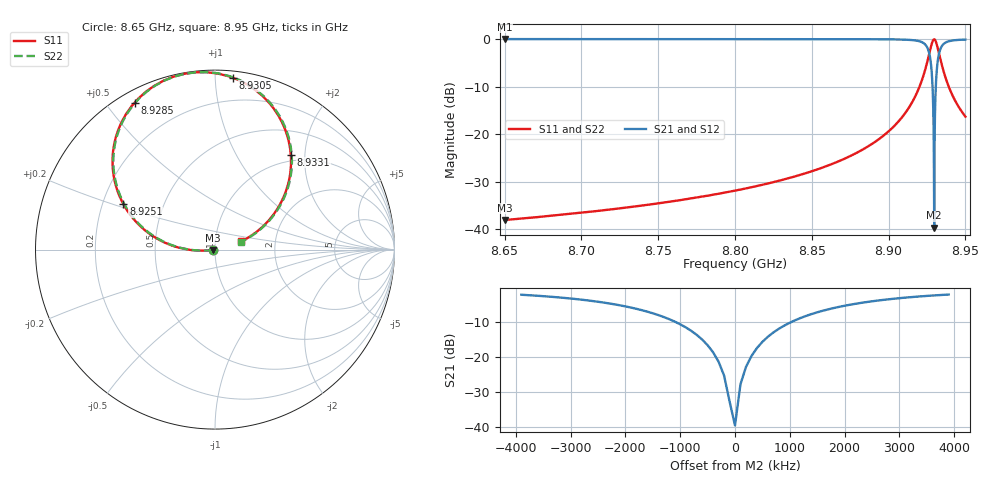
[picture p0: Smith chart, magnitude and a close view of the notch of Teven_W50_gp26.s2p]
! Sonnet Data File
! From: emgraph Version : 16.52
! From Project: transmon_trial
! Data is De-embedded
! Data File Written: 10/20/2017 09:13:08
!< HDATE 10/19/2017 20:03:37
!< MDATE 10/19/2017 20:10:25
!< PARAMS
!< Lj = 15.24
!< Gap = 26.0
!< Width = 50.0
!< Airgap = 30.0
!< Pwidth = 2000.0
!< END PARAMS
# GHZ S MA R 51.00000
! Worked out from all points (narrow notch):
!   3001 points, 8.65 GHz to 8.95 GHz, reference 51 ohm
!   highest |S21| = 0.00 dB at 8.65 GHz (marker M1); lowest = -39.6 dB at 8.9297 GHz (marker M2)
!   notch at M2: 39.6 dB deep, 657 kHz wide at half that depth
!   lowest |S11| = -38.0 dB at 8.65 GHz (marker M3), VSWR 1.03, Z = 49.8 - j0.206 ohm
!   |S11| at or under -10 dB: start of sweep to 8.9201 GHz; 8.93915 GHz to end of sweep
!   |S22| runs from -38.0 to 0.0 dB; largest |S21 - S12| = 0
!   S11 on the Smith chart (normalised r, x): 8.65 GHz: 0.98, -0.00; 8.9251 GHz: 0.29, +0.22; 8.9285 GHz: 0.05, +0.59; 8.9305 GHz: 0.04, +1.11; 8.9331 GHz: 0.88, +1.72; 8.95 GHz: 1.34, +0.12
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8.65  0.01253 -170.5  0.9999 -79.9  0.9999 -79.9  0.01253 -169.3
!< P1 F=8.65 Eeff=(6.43962691 -3.1336e-5) Z0=(50.4019059 1.05256e-4) R=0.0 C=0.0
!< P2 F=8.65 Eeff=(6.43962691 -3.1336e-5) Z0=(50.4019059 1.05256e-4) R=0.0 C=0.0
8.7  0.01496 -170.9  0.9999 -80.5  0.9999 -80.5  0.01496 -170.1
8.75  0.01877 -171.5  0.9998 -81.2  0.9998 -81.2  0.01877 -170.9
8.8  0.02553 -172.2  0.9997 -82.0  0.9997 -82.0  0.02553 -171.9
8.85  0.04081 -173.4  0.9992 -83.3  0.9992 -83.3  0.04081 -173.4
8.879  0.06347 -174.8  0.998 -84.9  0.998 -84.9  0.06347 -175.0
8.9  0.1072 -177.5  0.9942 -87.6  0.9942 -87.6  0.1072 -177.8
8.9109  0.1675 178.9  0.9857 -91.2  0.9857 -91.2  0.1675 178.5
8.9189  0.2831 172.1  0.9586 -98.1  0.9586 -98.1  0.2831 171.6
8.9226  0.4095 164.3  0.9113 -105.8  0.9113 -105.8  0.4095 163.8
8.9251  0.5694 153.6  0.8199 -116.4  0.8199 -116.4  0.5694 153.1
8.9273  0.7981 135.2  0.5966 -134.7  0.5966 -134.7  0.7981 134.6
8.9279  0.8694 127.6  0.4856 -142.1  0.4856 -142.1  0.8693 127.1
8.9285  0.9334 118.7  0.3449 -150.7  0.3449 -150.7  0.9334 118.2
8.9297  0.9944 98.0  0.01042 -24.5  0.01042 -24.5  0.9944 97.5
8.9305  0.9625 84.0  0.2515 -7.5  0.2515 -7.5  0.9625 83.4
8.931  0.9179 75.9  0.3847 -15.1  0.3847 -15.1  0.9179 75.3
8.9318  0.827 64.8  0.5554 -26.0  0.5554 -26.0  0.8269 64.2
8.9331  0.6769 51.4  0.7326 -39.2  0.7326 -39.2  0.6769 50.8
8.9353  0.4895 38.0  0.8704 -52.5  0.8704 -52.5  0.4895 37.4
8.9383  0.3439 28.7  0.9383 -61.7  0.9383 -61.7  0.3439 28.1
8.95  0.1532 17.3  0.9881 -73.1  0.9881 -73.1  0.1532 16.6
